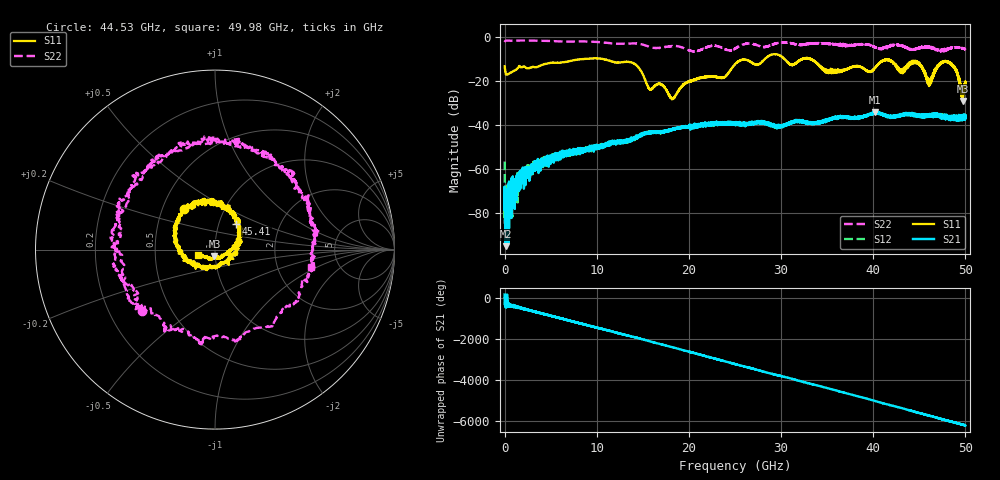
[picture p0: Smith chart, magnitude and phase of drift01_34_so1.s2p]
!Created with skrf (http://scikit-rf.org).
# Hz S RI R 50.0
!freq ReS11 ImS11 ReS21 ImS21 ReS12 ImS12 ReS22 ImS22
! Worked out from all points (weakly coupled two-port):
!   10001 points, 300 kHz to 50 GHz, reference 50 ohm
!   highest |S21| = -34.08 dB at 40.19 GHz (marker M1); lowest = -95.1 dB at 120.3 MHz (marker M2)
!   lowest |S11| = -28.9 dB at 49.72 GHz (marker M3), VSWR 1.07, Z = 49.6 - j3.55 ohm
!   |S11| at or under -10 dB: start of sweep to 8.053 GHz; 10.89 GHz to 28.19 GHz (17.3 GHz wide, 88.5 % of centre); 33.28 GHz to end of sweep (the widest 3 of 10)
!   |S22| runs from -6.5 to -1.4 dB; largest |S21 - S12| = 0.0043
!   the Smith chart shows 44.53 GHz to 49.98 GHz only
!   S11 on the Smith chart (normalised r, x): 44.53 GHz: 0.65, +0.32; 45.41 GHz: 1.21, +0.36; 49.98 GHz: 0.83, -0.05
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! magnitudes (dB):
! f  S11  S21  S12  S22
! 300 kHz  -13.1  -78.6  -56.5  -2.1
! 120.3 MHz  -16.5  -95.1  -80.1  -1.5
! 280.3 MHz  -16.9  -73.5  -72.4  -1.4
! 3.17 GHz  -13.5  -58.5  -59.5  -1.4
! 8.335 GHz  -9.9  -51.5  -52.0  -1.8
! 13.77 GHz  -11.3  -46.8  -46.4  -2.7
! 15.73 GHz  -23.4  -43.1  -43.3  -4.2
! 16.67 GHz  -21.1  -43.2  -43.4  -4.8
! 18.24 GHz  -27.7  -41.7  -41.8  -3.9
! 25 GHz  -12.2  -39.3  -39.2  -5.1
! 33.34 GHz  -10.1  -39.3  -38.8  -2.7
! 35.09 GHz  -15.3  -37.3  -37.6  -2.9
! 40.19 GHz  -13.9  -34.1  -34.6  -4.3
! 41.67 GHz  -10.4  -36.2  -36.2  -4.3
! 43.07 GHz  -15.4  -35.6  -35.0  -3.7
! 44.53 GHz  -10.9  -34.8  -35.1  -5.5
! 45.41 GHz  -14.6  -36.3  -36.0  -4.4
! 46.11 GHz  -20.7  -35.4  -36.0  -4.6
! 48.24 GHz  -11.5  -36.2  -36.0  -4.8
! 49.72 GHz  -28.9  -36.3  -37.2  -5.1
! 49.98 GHz  -20.1  -35.8  -36.5  -5.3
! 50 GHz  -20.7  -36.5  -36.0  -5.4
